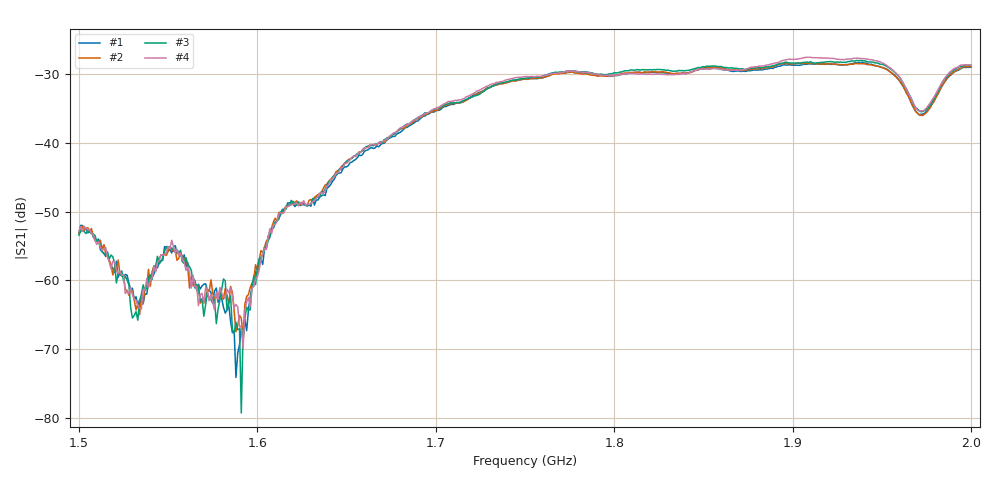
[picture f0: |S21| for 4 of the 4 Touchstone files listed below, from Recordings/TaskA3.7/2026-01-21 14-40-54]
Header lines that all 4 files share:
! NanoVNA-App by SYSJOINT et al v1.1.209 (+OD18)
! Start: 1,5GHz Stop: 2GHz Points: 501
! S-Parameter data: F S11 S21 S12 S22
# Hz S RI R 50
!  Frequency  S11_Real  S11_Imag  S21_Real  S21_Imag  S12_Real  S12_Imag  S22_Real  S22_Imag
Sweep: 1.5 GHz to 2 GHz
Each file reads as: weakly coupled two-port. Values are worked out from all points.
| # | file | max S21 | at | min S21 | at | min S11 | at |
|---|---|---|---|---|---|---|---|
| 1 | 0.s2p | -28.31 dB | 1.939 GHz | -74.1 dB | 1.588 GHz | -30.2 dB | 1.817 GHz |
| 2 | 1.s2p | -28.41 dB | 1.908 GHz | -68.2 dB | 1.592 GHz | -29.7 dB | 1.817 GHz |
| 3 | 2.s2p | -28.01 dB | 1.938 GHz | -79.3 dB | 1.591 GHz | -29.6 dB | 1.817 GHz |
| 4 | 3.s2p | -27.56 dB | 1.91 GHz | -69.9 dB | 1.592 GHz | -29.8 dB | 1.817 GHz |
